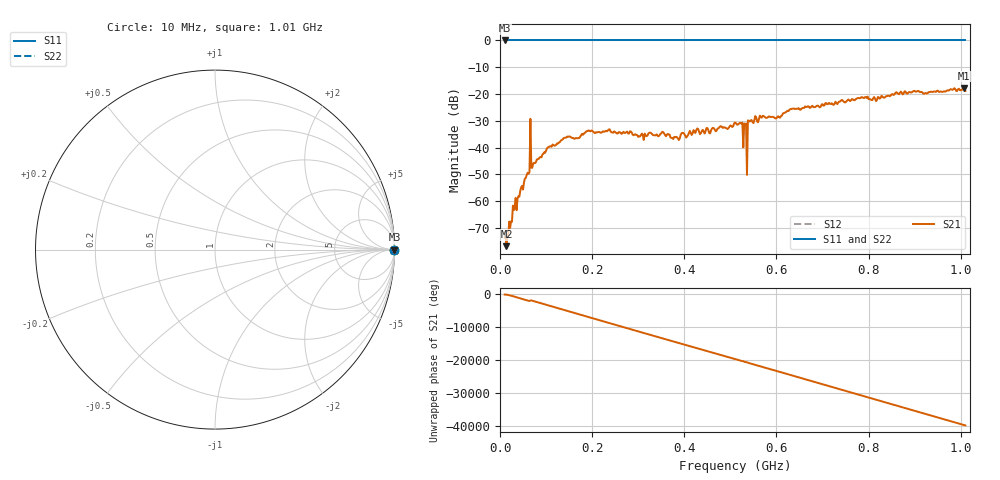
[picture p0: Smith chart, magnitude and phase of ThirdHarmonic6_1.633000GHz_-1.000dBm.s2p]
! 8/16/2025 7:31:34 PM
! C:\ANRITSUVNA\TEMP\TEMP.S2P
! CHANNEL.1
! TR.MEASUREMENT
! RAW.DATA
! RF.CORRECTION.OFF
! AVERAGING.OFF
! IF.BANDWIDTH: 5KHZ
! SWEEPTYPE:  FREQ.SWEEP(Linear)
! Reference Plane Port Info
! PORT:  PORT1  PORT2
! DISTANCE:  0  m  0  m
! TIME:  0  s  0  s
! PHASE.OFFSET:  0  deg.  0  deg.
! LOSS:  0  dB  0  dB
! REF.LOSS:  0  dB  0  dB
! REF.FREQ:  0  Hz  0  Hz
! Power Info
! POWER:  -20  dBm  -20  dBm
! EFF.POWER:  -20  dBm  -20  dBm
! SOURCE.ATTEN:  0  dB  0  dB
! TEST.ATTEN:  0  dB  0  dB
# GHZ S RI R 50.0
! FREQ.GHZ  S11RE  S11IM  S21RE  S21IM  S12RE  S12IM  S22RE  S22IM
!; PortSelection: Port_12
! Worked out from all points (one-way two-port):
!   501 points, 10 MHz to 1.01 GHz, reference 50 ohm
!   highest |S21| = -17.77 dB at 1.006 GHz (marker M1); lowest = -76.8 dB at 14 MHz (marker M2)
!   lowest |S11| = 0.0 dB at 10 MHz (marker M3)
!   |S11| at or under -10 dB: nowhere
!   |S22| runs from 0.0 to 0.0 dB; largest |S21 - S12| = 1.1
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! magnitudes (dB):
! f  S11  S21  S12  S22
! 10 MHz  0.0  -73.6  0.0  0.0
! 14 MHz  0.0  -76.8  0.0  0.0
! 30 MHz  0.0  -63.4  0.0  0.0
! 60 MHz  0.0  -49.4  0.0  0.0
! 62 MHz  0.0  -49.7  0.0  0.0
! 70 MHz  0.0  -47.5  0.0  0.0
! 72 MHz  0.0  -46.0  0.0  0.0
! 106 MHz  0.0  -39.8  0.0  0.0
! 178 MHz  0.0  -34.9  0.0  0.0
! 234 MHz  0.0  -33.6  0.0  0.0
! 344 MHz  0.0  -35.8  0.0  0.0
! 386 MHz  0.0  -36.5  0.0  0.0
! 510 MHz  0.0  -30.6  0.0  0.0
! 530 MHz  0.0  -31.0  0.0  0.0
! 532 MHz  0.0  -31.5  0.0  0.0
! 534 MHz  0.0  -31.0  0.0  0.0
! 540 MHz  0.0  -30.0  0.0  0.0
! 542 MHz  0.0  -30.3  0.0  0.0
! 678 MHz  0.0  -24.4  0.0  0.0
! 844 MHz  0.0  -20.7  0.0  0.0
! 1.006 GHz  0.0  -17.8  0.0  0.0
! 1.01 GHz  0.0  -18.9  0.0  0.0
